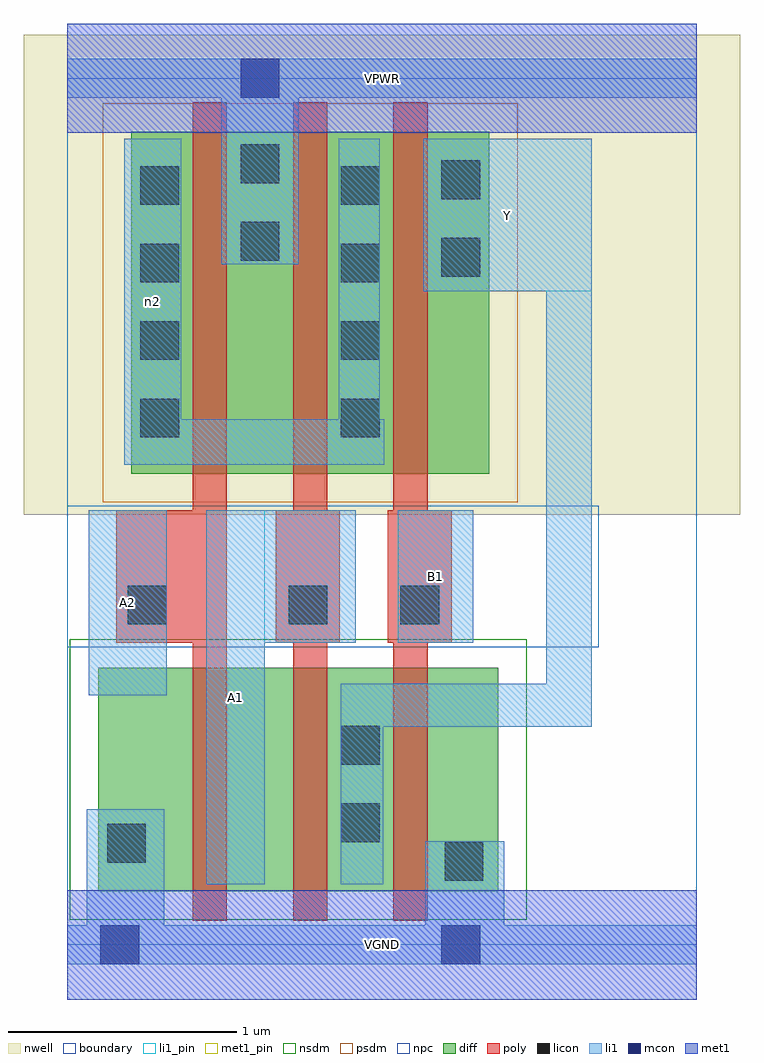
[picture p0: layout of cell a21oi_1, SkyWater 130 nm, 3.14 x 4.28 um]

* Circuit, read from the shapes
.subckt a21oi_1 A1 A2 B1 VGND VPWR Y n2
XM1 n1 A2 VGND VSUBS sky130_fd_pr__nfet_01v8 w=0.98 l=0.15
XM2 Y A1 n1 VSUBS sky130_fd_pr__nfet_01v8 w=0.98 l=0.15
XM3 VGND B1 Y VSUBS sky130_fd_pr__nfet_01v8 w=0.98 l=0.15
XM4 VPWR A2 n2 n3 sky130_fd_pr__pfet_01v8 w=1.5 l=0.15
XM5 n2 A1 VPWR n3 sky130_fd_pr__pfet_01v8 w=1.5 l=0.15
XM6 Y B1 n2 n3 sky130_fd_pr__pfet_01v8 w=1.5 l=0.15
.ends

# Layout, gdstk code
import gdstk
lib = gdstk.Library(unit=1e-6, precision=1e-09)
def R(c, l, rs):  # rectangles x0, y0, x1, y1
    for r in rs: c.add(gdstk.rectangle(r[:2], r[2:], *l))
def A(c, l, x, y, w, h, nx, ny, dx, dy):  # array of equal rectangles
    R(c, l, [(x+i*dx, y+j*dy, x+i*dx+w, y+j*dy+h) for i in range(nx) for j in range(ny)])
nwell = (64, 20)
diff = (65, 20)
poly = (66, 20)
licon = (66, 44)
li1_pin = (67, 16)
li1 = (67, 20)
mcon = (67, 44)
met1_pin = (68, 16)
met1 = (68, 20)
nsdm = (93, 44)
psdm = (94, 20)
npc = (95, 20)
boundary = (235, 4)

a21oi_1 = lib.new_cell('a21oi_1')
R(a21oi_1, nwell, [(-0.19,1.885,2.95,3.99), (0,1.885,2.76,3.99)])
R(a21oi_1, diff, [(0.135,0.235,1.89,1.215), (0.28,2.065,1.85,3.565)])
A(a21oi_1, poly, 0.55, 0.105, 0.15, 3.59, 3, 1, 0.44, 0)
R(a21oi_1, poly, [(0.215,1.325,0.7,1.905), (0.915,1.325,1.195,1.905), (1.405,1.325,1.685,1.905)])
A(a21oi_1, licon, 0.32, 2.225, 0.17, 0.17, 1, 4, 0, 0.34)
A(a21oi_1, licon, 1.2, 2.225, 0.17, 0.17, 1, 4, 0, 0.34)
R(a21oi_1, licon, [(1.655,0.28,1.825,0.45), (0.175,0.36,0.345,0.53), (1.2,0.45,1.37,0.62), (1.2,0.79,1.37,0.96), (0.265,1.405,0.435,1.575), (0.97,1.405,1.14,1.575), (1.46,1.405,1.63,1.575), (1.64,2.93,1.81,3.1), (0.76,3,0.93,3.17), (1.64,3.27,1.81,3.44), (0.76,3.34,0.93,3.51)])
R(a21oi_1, li1_pin, [(0.61,0.265,0.865,1.905), (0.095,1.095,0.435,1.905), (1.45,1.325,1.78,1.905), (1.56,2.865,2.3,3.535)])
R(a21oi_1, li1, [(0,-0.085,2.76,0.085), (0.085,-0.085,0.425,0.595), (1.57,-0.085,1.915,0.455), (0.61,0.265,0.865,1.905), (1.2,0.265,1.385,1.145), (1.2,0.955,2.3,1.145), (2.1,0.955,2.3,3.535), (0.095,1.095,0.435,1.905), (0.61,1.325,1.265,1.905), (1.45,1.325,1.78,1.905), (0.25,2.105,0.5,3.535), (0.25,2.105,1.39,2.305), (1.19,2.105,1.37,3.535), (1.56,2.865,2.3,3.535), (0.675,2.985,1.015,3.885), (0,3.715,2.76,3.885)])
R(a21oi_1, mcon, [(0.145,-0.085,0.315,0.085), (1.64,-0.085,1.81,0.085), (0.76,3.715,0.93,3.885)])
R(a21oi_1, met1_pin, [(0,-0.24,2.76,0.24), (0,3.56,2.76,4.04)])
R(a21oi_1, met1, [(0,-0.24,2.76,0.24), (0,3.56,2.76,4.04)])
R(a21oi_1, nsdm, [(0.01,0.11,2.015,1.34)])
R(a21oi_1, psdm, [(0.155,1.94,1.975,3.69)])
R(a21oi_1, npc, [(0,1.305,2.33,1.925)])
R(a21oi_1, boundary, [(0,0,2.76,3.8)])
a21oi_1.add(gdstk.Label('A1', (0.737,1.085), layer=67, texttype=5))
a21oi_1.add(gdstk.Label('A2', (0.265,1.5), layer=67, texttype=5))
a21oi_1.add(gdstk.Label('B1', (1.615,1.615), layer=67, texttype=5))
a21oi_1.add(gdstk.Label('Y', (1.93,3.2), layer=67, texttype=5))
a21oi_1.add(gdstk.Label('n2', (0.375,2.82), layer=67, texttype=5))
a21oi_1.add(gdstk.Label('VPWR', (1.38,3.8), layer=68, texttype=5))
a21oi_1.add(gdstk.Label('VGND', (1.38,0), layer=68, texttype=5))
a21oi_1.add(gdstk.Label('A1', (0.737,1.085), layer=67, texttype=16))
a21oi_1.add(gdstk.Label('A2', (0.265,1.5), layer=67, texttype=16))
a21oi_1.add(gdstk.Label('B1', (1.615,1.615), layer=67, texttype=16))
a21oi_1.add(gdstk.Label('Y', (1.93,3.2), layer=67, texttype=16))
a21oi_1.add(gdstk.Label('VPWR', (1.38,3.8), layer=68, texttype=16))
a21oi_1.add(gdstk.Label('VGND', (1.38,0), layer=68, texttype=16))

lib.write_gds('a21oi_1.gds')
